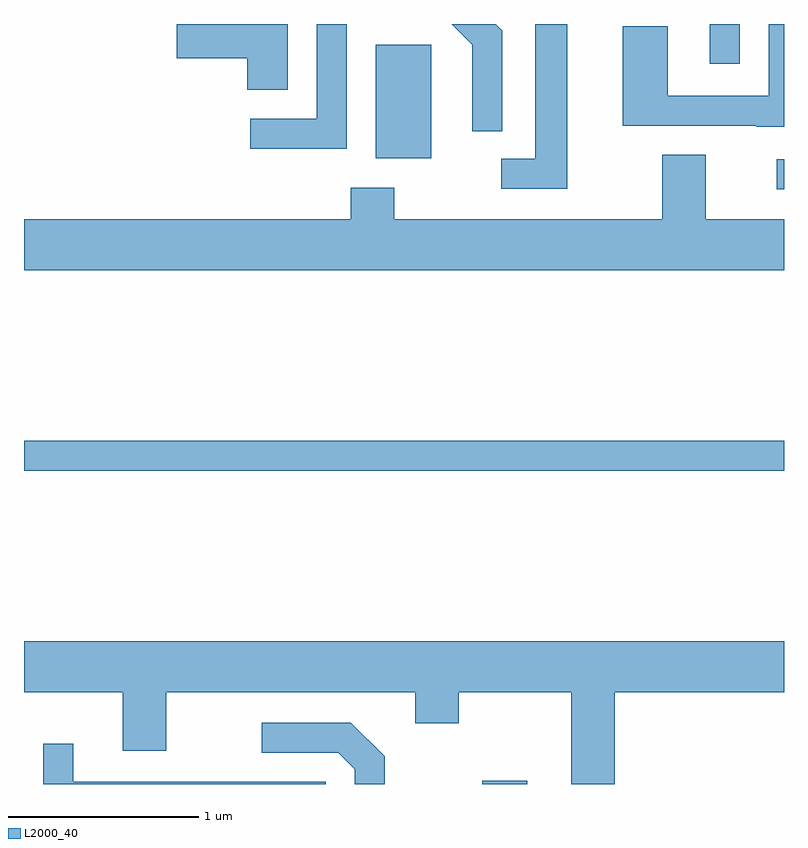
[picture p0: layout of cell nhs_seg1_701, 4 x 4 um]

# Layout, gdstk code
import gdstk
lib = gdstk.Library(unit=1e-6, precision=1e-09)
def R(c, l, rs):  # rectangles x0, y0, x1, y1
    for r in rs: c.add(gdstk.rectangle(r[:2], r[2:], *l))
def P(c, l, *ps):  # polygons
    for p in ps: c.add(gdstk.Polygon(p, *l))
L2000_40 = (2000, 40)

nhs_seg1_701 = lib.new_cell('nhs_seg1_701')
R(nhs_seg1_701, L2000_40, [(208.023,945.712,208.259,945.729), (205.611,947.361,209.611,947.519), (209.573,948.841,209.611,948.999), (207.461,949.006,207.754,949.604), (209.221,949.503,209.379,949.712)])
P(nhs_seg1_701, L2000_40, [(206.999,949.712),(206.416,949.712),(206.416,949.531),(206.786,949.531),(206.786,949.366),(206.999,949.366)],
  [(207.309,949.712),(207.151,949.712),(207.151,949.214),(206.803,949.214),(206.803,949.056),(207.309,949.056)],
  [(208.129,949.677),(208.094,949.712),(207.863,949.712),(207.971,949.604),(207.971,949.148),(208.129,949.148)],
  [(209.611,949.712),(209.531,949.712),(209.531,949.334),(208.999,949.334),(208.999,949.699),(208.761,949.699),(208.761,949.176),(209.465,949.176),(209.465,949.171),(209.611,949.171)],
  [(208.469,949.712),(208.301,949.712),(208.301,949.004),(208.123,949.004),(208.123,948.846),(208.469,948.846)],
  [(209.611,948.684),(209.199,948.684),(209.199,949.024),(208.971,949.024),(208.971,948.684),(207.559,948.684),(207.559,948.849),(207.331,948.849),(207.331,948.684),(205.611,948.684),(205.611,948.416),(209.611,948.416)],
  [(208.719,946.196),(209.611,946.196),(209.611,946.464),(205.611,946.464),(205.611,946.196),(206.131,946.196),(206.131,945.886),(206.359,945.886),(206.359,946.196),(207.671,946.196),(207.671,946.031),(207.899,946.031),(207.899,946.196),(208.491,946.196),(208.491,945.712),(208.719,945.712)],
  [(207.509,945.857),(207.332,946.034),(206.863,946.034),(206.863,945.876),(207.264,945.876),(207.351,945.789),(207.351,945.712),(207.509,945.712)],
  [(207.199,945.724),(205.869,945.724),(205.869,945.923),(205.711,945.923),(205.711,945.712),(207.199,945.712)])

lib.write_gds('nhs_seg1_701.gds')
